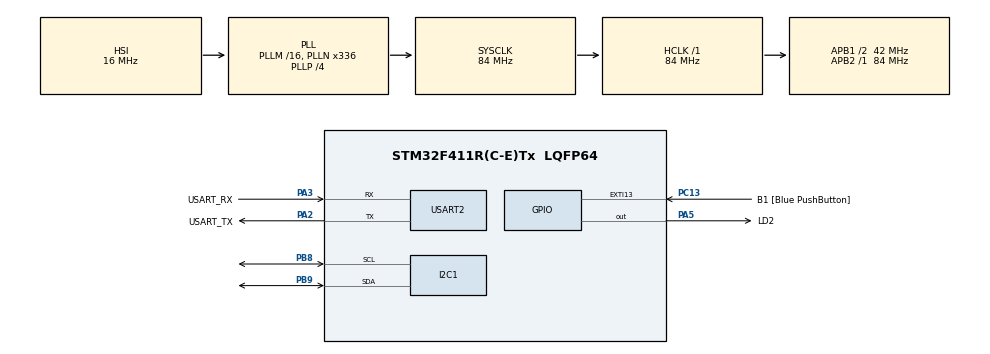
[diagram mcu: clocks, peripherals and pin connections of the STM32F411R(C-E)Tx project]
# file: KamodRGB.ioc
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Mcu.Family=STM32F4
Mcu.Name=STM32F411R(C-E)Tx
Mcu.Package=LQFP64
NVIC.PriorityGroup=NVIC_PRIORITYGROUP_0
NVIC.USART2_IRQn=true\:0\:0\:false\:true\:true\:1\:true\:true\:true
PA13.GPIO_Label=TMS
PA13.Mode=Serial_Wire
PA13.Signal=SYS_JTMS-SWDIO
PA14.GPIO_Label=TCK
PA14.Mode=Serial_Wire
PA14.Signal=SYS_JTCK-SWCLK
PA2.GPIO_Label=USART_TX
PA2.Mode=Asynchronous
PA2.Signal=USART2_TX
PA3.GPIO_Label=USART_RX
PA3.Mode=Asynchronous
PA3.Signal=USART2_RX
PA5.GPIO_Label=LD2
PA5.Signal=GPIO_Output
PB3.GPIO_Label=SWO
PB3.Signal=SYS_JTDO-SWO
PB8.GPIO_Pu=GPIO_PULLUP
PB8.Mode=I2C
PB8.Signal=I2C1_SCL
PB9.GPIO_Pu=GPIO_PULLUP
PB9.Mode=I2C
PB9.Signal=I2C1_SDA
PC13-ANTI_TAMP.GPIO_Label=B1 [Blue PushButton]
PC13-ANTI_TAMP.GPIO_ModeDefaultEXTI=GPIO_MODE_IT_FALLING
PC13-ANTI_TAMP.Signal=GPXTI13
PC14-OSC32_IN.Mode=LSE-External-Oscillator
PC14-OSC32_IN.Signal=RCC_OSC32_IN
PC15-OSC32_OUT.Mode=LSE-External-Oscillator
PC15-OSC32_OUT.Signal=RCC_OSC32_OUT
PH0\ -\ OSC_IN.Mode=HSE-External-Clock-Source
PH0\ -\ OSC_IN.Signal=RCC_OSC_IN
PH1\ -\ OSC_OUT.Mode=HSE-External-Clock-Source
PH1\ -\ OSC_OUT.Signal=RCC_OSC_OUT
ProjectManager.HeapSize=0x200
ProjectManager.StackSize=0x400
ProjectManager.TargetToolchain=STM32CubeIDE
RCC.48MHZClocksFreq_Value=84000000
RCC.AHBFreq_Value=84000000
RCC.APB1CLKDivider=RCC_HCLK_DIV2
RCC.APB1Freq_Value=42000000
RCC.APB1TimFreq_Value=84000000
RCC.APB2Freq_Value=84000000
RCC.APB2TimFreq_Value=84000000
RCC.CortexFreq_Value=84000000
RCC.FLatency-AdvancedSettings=FLASH_LATENCY_2
RCC.HCLKFreq_Value=84000000
RCC.HSE_VALUE=8000000
RCC.HSI_VALUE=16000000
RCC.PLLN=336
RCC.PLLP=RCC_PLLP_DIV4
RCC.SYSCLKFreq_VALUE=84000000
RCC.SYSCLKSource=RCC_SYSCLKSOURCE_PLLCLK
RCC.VCOOutputFreq_Value=336000000
USART2.VirtualMode=VM_ASYNC
board=NUCLEO-F411RE

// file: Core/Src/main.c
/* USER CODE BEGIN Header */
/**
  ******************************************************************************
  * @file           : main.c
  * @brief          : Main program body
  ******************************************************************************
  * @attention
  *
  * Copyright (c) 2022 STMicroelectronics.
  * All rights reserved.
  *
  * This software is licensed under terms that can be found in the LICENSE file
  * in the root directory of this software component.
  * If no LICENSE file comes with this software, it is provided AS-IS.
  *
  ******************************************************************************
  */
/* USER CODE END Header */
#include "main.h"
#include "i2c.h"
#include "usart.h"
#include "gpio.h"

/* USER CODE BEGIN Includes */
#include "pca9633.h"
/* USER CODE END Includes */

/* USER CODE BEGIN PV */
pca9633_t KamodRGB;
/* USER CODE END PV */

void SystemClock_Config(void);
static void MX_NVIC_Init(void);

int main(void)
{

  /* MCU Configuration--------------------------------------------------------*/

  /* Reset of all peripherals, Initializes the Flash interface and the Systick. */
  HAL_Init();

  /* Configure the system clock */
  SystemClock_Config();

  /* Initialize all configured peripherals */
  MX_GPIO_Init();
  MX_USART2_UART_Init();
  MX_I2C1_Init();

  /* Initialize interrupts */
  MX_NVIC_Init();
  /* USER CODE BEGIN 2 */
  pca9633Init(&KamodRGB, &hi2c1, 0x07);
  pca9633SetAllPWM(&KamodRGB, 0, 0, 0, 0);
  /* USER CODE END 2 */

  /* Infinite loop */
  /* USER CODE BEGIN WHILE */
  while (1)
  {
	  for (int i = 0; i < 255; i += 10)
	  {
		  for (int j = 1; j < 4; j++)
		  {
				switch (j)
				{
				case 1:
					pca9633SetAllPWM(&KamodRGB, 0 * i, 0 * i, 0 * i, 1 * i);
					break;
				case 2:
					pca9633SetAllPWM(&KamodRGB, 0*i, 0*i, 1*i, 0*i);
					break;
				case 3:
					pca9633SetAllPWM(&KamodRGB, 0*i, 1*i, 0*i, 0*i);
					break;
				}
				HAL_Delay(100);
		  }
	  }

	  pca9633SetAllPWM(&KamodRGB, 70, 12, 19, 98);
	  for(int i = 0; i < 4; i++)
	  {
		  pca9633ChangeBrightnessLinearly(&KamodRGB, 255, 1, 5000);
		  HAL_Delay(100);
		  pca9633ChangeBrightnessLinearly(&KamodRGB, 1, 255, 5000);
	  }
	  pca9633SetAllPWM(&KamodRGB, 0, 0, 0, 0);
	  pca9633TurnOnBlinking(&KamodRGB);
	  pca9633SetAllPWM(&KamodRGB, 70, 12, 150, 98);
	  pca9633SetBlinking(&KamodRGB, 47, 128);
	  HAL_Delay(20000);
	  pca9633TurnOffBlinking(&KamodRGB);
	  pca9633SetAllPWM(&KamodRGB, 0, 0, 0, 0);
	  HAL_Delay(500);

    /* USER CODE END WHILE */

  }
}

void SystemClock_Config(void)
{
  RCC_OscInitTypeDef RCC_OscInitStruct = {0};
  RCC_ClkInitTypeDef RCC_ClkInitStruct = {0};

  /** Configure the main internal regulator output voltage
  */
  __HAL_RCC_PWR_CLK_ENABLE();
  __HAL_PWR_VOLTAGESCALING_CONFIG(PWR_REGULATOR_VOLTAGE_SCALE1);

  /** Initializes the RCC Oscillators according to the specified parameters
  * in the RCC_OscInitTypeDef structure.
  */
  RCC_OscInitStruct.OscillatorType = RCC_OSCILLATORTYPE_HSI;
  RCC_OscInitStruct.HSIState = RCC_HSI_ON;
  RCC_OscInitStruct.HSICalibrationValue = RCC_HSICALIBRATION_DEFAULT;
  RCC_OscInitStruct.PLL.PLLState = RCC_PLL_ON;
  RCC_OscInitStruct.PLL.PLLSource = RCC_PLLSOURCE_HSI;
  RCC_OscInitStruct.PLL.PLLM = 16;
  RCC_OscInitStruct.PLL.PLLN = 336;
  RCC_OscInitStruct.PLL.PLLP = RCC_PLLP_DIV4;
  RCC_OscInitStruct.PLL.PLLQ = 4;
  if (HAL_RCC_OscConfig(&RCC_OscInitStruct) != HAL_OK)
  {
    Error_Handler();
  }

  /** Initializes the CPU, AHB and APB buses clocks
  */
  RCC_ClkInitStruct.ClockType = RCC_CLOCKTYPE_HCLK|RCC_CLOCKTYPE_SYSCLK
                              |RCC_CLOCKTYPE_PCLK1|RCC_CLOCKTYPE_PCLK2;
  RCC_ClkInitStruct.SYSCLKSource = RCC_SYSCLKSOURCE_PLLCLK;
  RCC_ClkInitStruct.AHBCLKDivider = RCC_SYSCLK_DIV1;
  RCC_ClkInitStruct.APB1CLKDivider = RCC_HCLK_DIV2;
  RCC_ClkInitStruct.APB2CLKDivider = RCC_HCLK_DIV1;

  if (HAL_RCC_ClockConfig(&RCC_ClkInitStruct, FLASH_LATENCY_2) != HAL_OK)
  {
    Error_Handler();
  }
}

/**
  * @brief NVIC Configuration.
  * @retval None
  */
static void MX_NVIC_Init(void)
{
  /* USART2_IRQn interrupt configuration */
  HAL_NVIC_SetPriority(USART2_IRQn, 0, 0);
  HAL_NVIC_EnableIRQ(USART2_IRQn);
}

void Error_Handler(void)
{
  __disable_irq();
  while (1)
  {
  }
}
